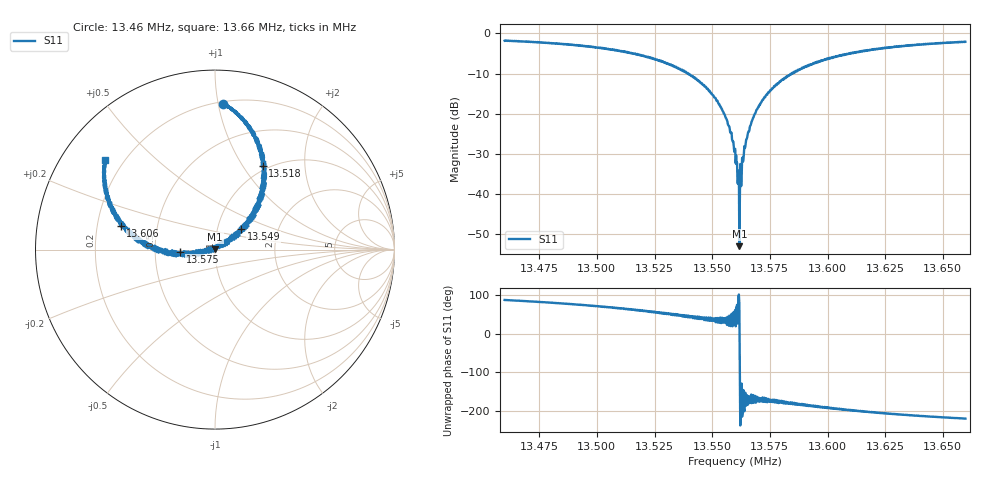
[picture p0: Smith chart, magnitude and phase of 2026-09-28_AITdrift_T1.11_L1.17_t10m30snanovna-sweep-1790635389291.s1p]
! NanoVNA Web complex sweep
! Processing: unaveraged complex samples; linear segment spacing; no smoothing
# Hz S RI R 50
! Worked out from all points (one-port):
!   1010 points, 13.46 MHz to 13.66 MHz, reference 50 ohm
!   lowest |S11| = -53.0 dB at 13.562 MHz (marker M1), VSWR 1.00, Z = 50.1 + j0.218 ohm
!   |S11| at or under -10 dB: 13.53953 MHz to 13.58446 MHz (44.93 kHz wide, 0.331 % of centre)
!   S11 on the Smith chart (normalised r, x): 13.46 MHz: 0.22, +1.03; 13.518 MHz: 0.94, +1.23; 13.549 MHz: 1.30, +0.31; 13.575 MHz: 0.68, -0.02; 13.606 MHz: 0.30, +0.11; 13.66 MHz: 0.13, +0.35
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1.346e7  0.0452 0.8117
1.348515e7  0.1558 0.7205
1.351009e7  0.2477 0.5483
1.351841e7  0.2652 0.4679
1.353504e7  0.244 0.2761
1.354237e7  0.2211 0.18
1.35491e7  0.146 0.1156
1.355247e7  0.1062 0.0905
1.355563e7  0.0751 0.0552
1.355821e7  0.0403 0.0409
1.355999e7  0.0178 0.0319
1.356058e7  0.0102 0.0213
1.356078e7  0.00674 0.0238
1.356098e7  0.0125 0.00613
1.356177e7  0.000548 0.00218
1.356276e7  -0.00958 -0.0119
1.356296e7  -0.0228 0.0156
1.356316e7  -0.0256 0.0126
1.356395e7  -0.037 0.0138
1.356652e7  -0.0711 -0.0047
1.357009e7  -0.1195 -0.0322
1.357524e7  -0.1927 -0.0129
1.358494e7  -0.3167 0.0125
1.359444e7  -0.428 0.0509
1.360593e7  -0.5248 0.1308
1.360989e7  -0.5431 0.1679
1.363483e7  -0.6062 0.3548
1.365978e7  -0.6106 0.4972
